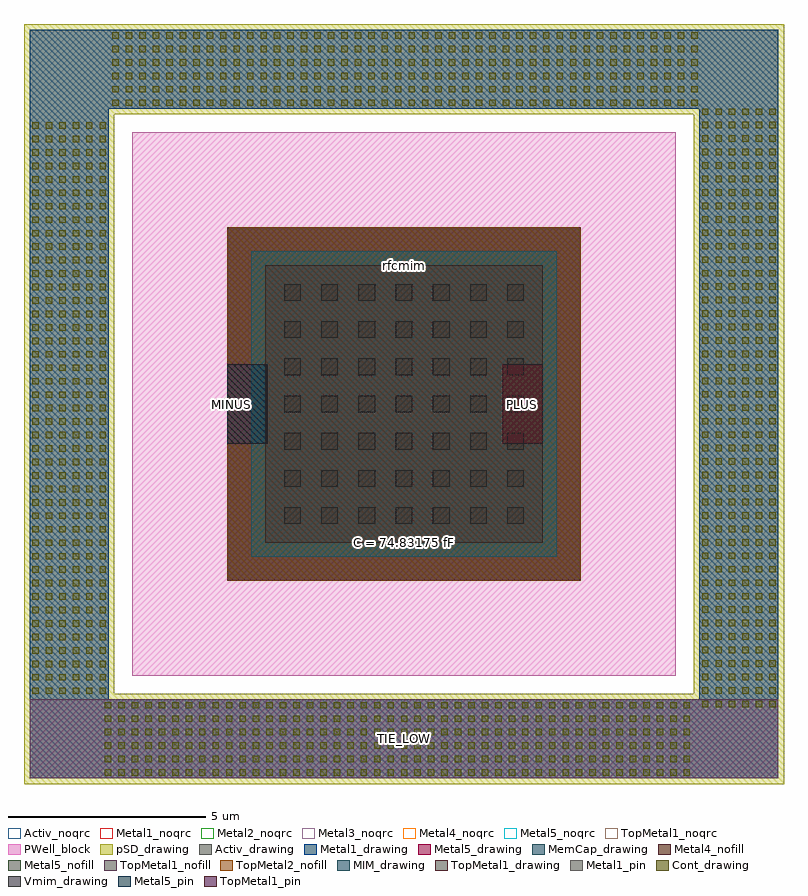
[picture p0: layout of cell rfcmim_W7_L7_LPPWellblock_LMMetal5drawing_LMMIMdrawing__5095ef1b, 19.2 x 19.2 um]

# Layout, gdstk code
import gdstk
lib = gdstk.Library(unit=1e-6, precision=1e-09)
def R(c, l, rs):  # rectangles x0, y0, x1, y1
    for r in rs: c.add(gdstk.rectangle(r[:2], r[2:], *l))
def A(c, l, x, y, w, h, nx, ny, dx, dy):  # array of equal rectangles
    R(c, l, [(x+i*dx, y+j*dy, x+i*dx+w, y+j*dy+h) for i in range(nx) for j in range(ny)])
def P(c, l, *ps):  # polygons
    for p in ps: c.add(gdstk.Polygon(p, *l))
Activ_drawing = (1, 0)
Activ_noqrc = (1, 28)
Cont_drawing = (6, 0)
Metal1_drawing = (8, 0)
Metal1_pin = (8, 2)
Metal1_noqrc = (8, 28)
Metal2_noqrc = (10, 28)
pSD_drawing = (14, 0)
Metal3_noqrc = (30, 28)
MIM_drawing = (36, 0)
PWell_block = (46, 21)
Metal4_nofill = (50, 23)
Metal4_noqrc = (50, 28)
Metal5_drawing = (67, 0)
Metal5_pin = (67, 2)
Metal5_nofill = (67, 23)
Metal5_noqrc = (67, 28)
MemCap_drawing = (69, 0)
TopMetal1_drawing = (126, 0)
TopMetal1_pin = (126, 2)
TopMetal1_nofill = (126, 23)
TopMetal1_noqrc = (126, 28)
Vmim_drawing = (129, 0)
TopMetal2_nofill = (134, 23)

rfcmim_w7_l7_lppwellbloc = lib.new_cell('rfcmim_W7_L7_LPPWellblock_LMMetal5drawing_LMMIMdrawing__5095ef1b')
P(rfcmim_w7_l7_lppwellbloc, Activ_drawing, [(-9.46,-9.46),(-9.46,7.46),(-7.46,7.46),(-7.46,-7.46),(7.46,-7.46),(7.46,7.46),(-9.46,7.46),(-9.46,9.46),(9.46,9.46),(9.46,-9.46)])
R(rfcmim_w7_l7_lppwellbloc, Activ_noqrc, [(-9.6,-9.6,9.6,9.6)])
A(rfcmim_w7_l7_lppwellbloc, Cont_drawing, -7.555, -9.39, 0.16, 0.16, 44, 6, 0.34, 0.34)
A(rfcmim_w7_l7_lppwellbloc, Cont_drawing, 7.53, -7.655, 0.16, 0.16, 6, 45, 0.34, 0.34)
A(rfcmim_w7_l7_lppwellbloc, Cont_drawing, -9.39, -7.325, 0.16, 0.16, 6, 43, 0.34, 0.34)
A(rfcmim_w7_l7_lppwellbloc, Cont_drawing, -7.365, 7.53, 0.16, 0.16, 44, 6, 0.34, 0.34)
P(rfcmim_w7_l7_lppwellbloc, Metal1_drawing, [(-9.46,-9.46),(-9.46,7.46),(-7.46,7.46),(-7.46,-7.46),(7.46,-7.46),(7.46,7.46),(-9.46,7.46),(-9.46,9.46),(9.46,9.46),(9.46,-9.46)])
R(rfcmim_w7_l7_lppwellbloc, Metal1_pin, [(-9.46,-9.46,9.46,-7.46)])
R(rfcmim_w7_l7_lppwellbloc, Metal1_noqrc, [(-9.6,-9.6,9.6,9.6)])
R(rfcmim_w7_l7_lppwellbloc, Metal2_noqrc, [(-9.6,-9.6,9.6,9.6)])
P(rfcmim_w7_l7_lppwellbloc, pSD_drawing, [(-9.6,-9.6),(-9.6,7.32),(-7.32,7.32),(-7.32,-7.32),(7.32,-7.32),(7.32,7.32),(-9.6,7.32),(-9.6,9.6),(9.6,9.6),(9.6,-9.6)])
R(rfcmim_w7_l7_lppwellbloc, Metal3_noqrc, [(-9.6,-9.6,9.6,9.6)])
R(rfcmim_w7_l7_lppwellbloc, MIM_drawing, [(-3.86,-3.86,3.86,3.86)])
R(rfcmim_w7_l7_lppwellbloc, PWell_block, [(-6.86,-6.86,6.86,6.86)])
R(rfcmim_w7_l7_lppwellbloc, Metal4_nofill, [(-4.46,-4.46,4.46,4.46)])
R(rfcmim_w7_l7_lppwellbloc, Metal4_noqrc, [(-9.6,-9.6,9.6,9.6)])
R(rfcmim_w7_l7_lppwellbloc, Metal5_drawing, [(-4.46,-4.46,4.46,4.46)])
R(rfcmim_w7_l7_lppwellbloc, Metal5_pin, [(-4.46,-1,-3.46,1)])
R(rfcmim_w7_l7_lppwellbloc, Metal5_nofill, [(-4.46,-4.46,4.46,4.46)])
R(rfcmim_w7_l7_lppwellbloc, Metal5_noqrc, [(-9.6,-9.6,9.6,9.6)])
R(rfcmim_w7_l7_lppwellbloc, MemCap_drawing, [(-4.46,-4.46,4.46,4.46)])
R(rfcmim_w7_l7_lppwellbloc, TopMetal1_drawing, [(-3.5,-3.5,3.5,3.5)])
R(rfcmim_w7_l7_lppwellbloc, TopMetal1_pin, [(2.5,-1,3.5,1)])
R(rfcmim_w7_l7_lppwellbloc, TopMetal1_nofill, [(-4.46,-4.46,4.46,4.46)])
R(rfcmim_w7_l7_lppwellbloc, TopMetal1_noqrc, [(-9.6,-9.6,9.6,9.6)])
A(rfcmim_w7_l7_lppwellbloc, Vmim_drawing, -3.03, -3.03, 0.42, 0.42, 7, 7, 0.94, 0.94)
R(rfcmim_w7_l7_lppwellbloc, TopMetal2_nofill, [(-4.46,-4.46,4.46,4.46)])
rfcmim_w7_l7_lppwellbloc.add(gdstk.Label('TIE_LOW', (0,-8.46), layer=8, texttype=1))
rfcmim_w7_l7_lppwellbloc.add(gdstk.Label('TIE_LOW', (0,-8.46), layer=63, texttype=0))
rfcmim_w7_l7_lppwellbloc.add(gdstk.Label('PLUS', (3,0), layer=63, texttype=0))
rfcmim_w7_l7_lppwellbloc.add(gdstk.Label('MINUS', (-4.36,0), layer=63, texttype=0))
rfcmim_w7_l7_lppwellbloc.add(gdstk.Label('rfcmim', (0,3.5), layer=63, texttype=0))
rfcmim_w7_l7_lppwellbloc.add(gdstk.Label('C = 74.83175 fF', (0,-3.5), layer=63, texttype=0))

lib.write_gds('rfcmim_W7_L7_LPPWellblock_LMMetal5drawing_LMMIMdrawing__5095ef1b.gds')
